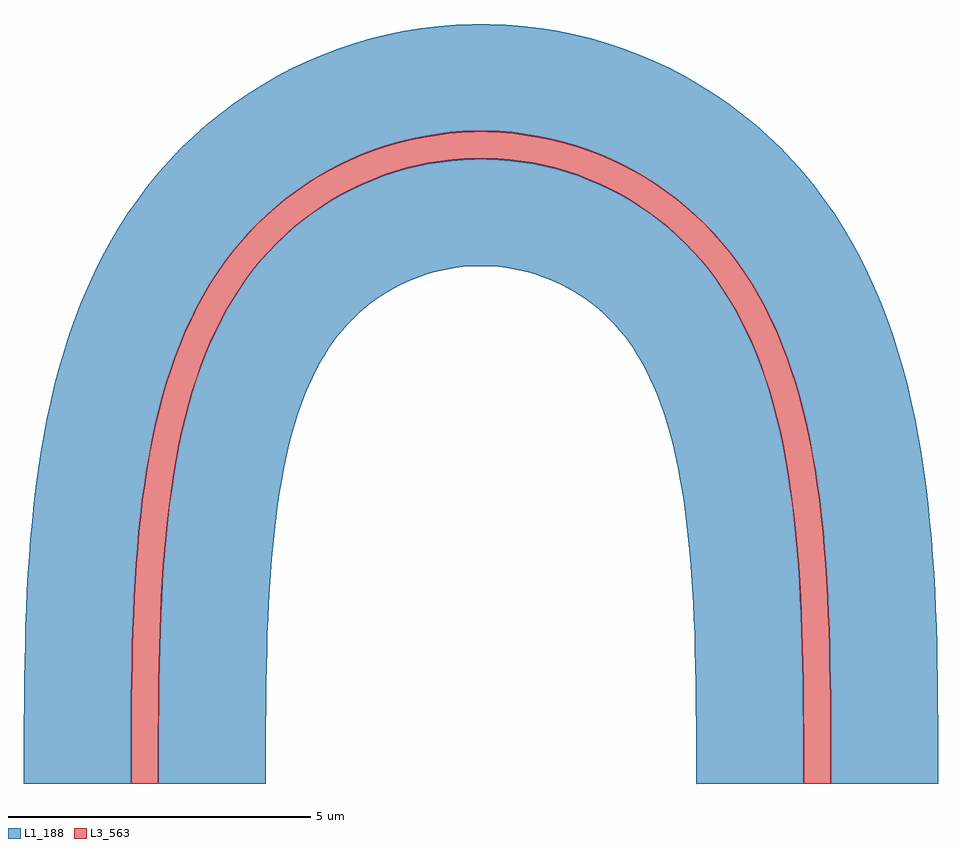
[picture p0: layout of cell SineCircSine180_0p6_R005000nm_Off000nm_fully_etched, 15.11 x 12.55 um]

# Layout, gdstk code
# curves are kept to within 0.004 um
import gdstk
lib = gdstk.Library(unit=1e-6, precision=1e-09)
def P(c, l, *ps):  # polygons
    for p in ps: c.add(gdstk.Polygon(p, *l))
L1_188 = (1, 188)
L3_563 = (3, 563)

sinecircsine180_0p6_r005 = lib.new_cell('SineCircSine180_0p6_R005000nm_Off000nm_fully_etched')
P(sinecircsine180_0p6_r005, L1_188, [(3.554,-5.556),(3.549,-4.155),(3.535,-3.345),(3.492,-2.325),(3.436,-1.605),(3.356,-0.932),(3.25,-0.314),(3.164,0.067),(3.118,0.243),(3.016,0.576),(2.903,0.888),(2.782,1.161),(2.652,1.414),(2.512,1.642),(2.363,1.849),(2.202,2.036),(2.034,2.205),(1.942,2.287),(1.756,2.433),(1.55,2.568),(1.343,2.682),(1.116,2.784),(0.893,2.864),(0.662,2.926),(0.543,2.95),(0.3,2.985),(0.061,2.999),(-0.183,2.994),(-0.419,2.97),(-0.662,2.926),(-0.893,2.864),(-1.116,2.784),(-1.343,2.682),(-1.55,2.568),(-1.756,2.433),(-1.942,2.287),(-2.034,2.205),(-2.202,2.036),(-2.363,1.849),(-2.512,1.642),(-2.652,1.414),(-2.716,1.295),(-2.846,1.024),(-2.903,0.888),(-3.016,0.576),(-3.069,0.412),(-3.164,0.067),(-3.25,-0.314),(-3.287,-0.511),(-3.356,-0.932),(-3.411,-1.372),(-3.457,-1.837),(-3.492,-2.325),(-3.527,-3.087),(-3.549,-4.155),(-3.554,-5.554),(-5.329,-5.554),(-5.324,-4.136),(-5.309,-3.301),(-5.278,-2.483),(-5.226,-1.689),(-5.146,-0.925),(-5.075,-0.435),(-5.034,-0.196),(-4.989,0.038),(-4.887,0.494),(-4.767,0.929),(-4.7,1.14),(-4.552,1.545),(-4.384,1.927),(-4.197,2.288),(-3.989,2.627),(-3.877,2.788),(-3.76,2.944),(-3.638,3.093),(-3.377,3.377),(-3.237,3.51),(-3.094,3.638),(-2.945,3.759),(-2.792,3.874),(-2.47,4.087),(-2.304,4.183),(-1.96,4.354),(-1.603,4.498),(-1.236,4.613),(-0.861,4.697),(-0.671,4.727),(-0.48,4.751),(-0.097,4.774),(0.097,4.774),(0.289,4.766),(0.48,4.751),(0.861,4.697),(1.236,4.613),(1.603,4.498),(1.96,4.354),(2.134,4.271),(2.304,4.183),(2.47,4.087),(2.792,3.874),(2.945,3.759),(3.094,3.638),(3.377,3.377),(3.638,3.093),(3.76,2.944),(3.877,2.788),(3.989,2.627),(4.095,2.46),(4.293,2.111),(4.471,1.738),(4.552,1.545),(4.7,1.14),(4.767,0.929),(4.887,0.494),(4.989,0.038),(5.075,-0.435),(5.146,-0.925),(5.202,-1.431),(5.246,-1.951),(5.278,-2.483),(5.301,-3.026),(5.32,-3.857),(5.329,-5.554)],
  [(-7.554,-5.554),(-7.549,-4.113),(-7.525,-2.949),(-7.501,-2.372),(-7.443,-1.503),(-7.387,-0.93),(-7.353,-0.645),(-7.271,-0.077),(-7.223,0.199),(-7.17,0.48),(-7.046,1.029),(-6.895,1.578),(-6.81,1.846),(-6.619,2.368),(-6.508,2.634),(-6.392,2.887),(-6.27,3.133),(-6.134,3.384),(-5.991,3.626),(-5.84,3.862),(-5.681,4.091),(-5.511,4.317),(-5.331,4.538),(-5.148,4.744),(-4.951,4.951),(-4.538,5.331),(-4.317,5.512),(-4.09,5.681),(-3.86,5.84),(-3.624,5.99),(-3.375,6.133),(-3.125,6.264),(-2.872,6.383),(-2.618,6.492),(-2.355,6.593),(-2.083,6.684),(-1.811,6.763),(-1.536,6.83),(-1.259,6.886),(-0.987,6.93),(-0.706,6.965),(-0.421,6.988),(-0.141,6.999),(0.141,6.999),(0.421,6.988),(0.706,6.965),(0.987,6.93),(1.259,6.886),(1.536,6.83),(1.811,6.763),(2.083,6.684),(2.355,6.593),(2.618,6.492),(2.872,6.383),(3.125,6.264),(3.375,6.133),(3.624,5.99),(3.86,5.84),(4.09,5.681),(4.317,5.512),(4.538,5.331),(4.746,5.145),(4.951,4.951),(5.148,4.744),(5.331,4.538),(5.511,4.317),(5.681,4.091),(5.84,3.862),(5.991,3.626),(6.134,3.384),(6.27,3.133),(6.392,2.887),(6.508,2.634),(6.619,2.368),(6.81,1.846),(6.895,1.578),(7.046,1.029),(7.17,0.48),(7.271,-0.077),(7.353,-0.645),(7.387,-0.93),(7.443,-1.503),(7.484,-2.079),(7.525,-2.949),(7.54,-3.534),(7.549,-4.113),(7.554,-5.552),(5.779,-5.554),(5.778,-4.699),(5.765,-3.569),(5.751,-3.01),(5.713,-2.188),(5.674,-1.651),(5.623,-1.126),(5.558,-0.614),(5.476,-0.116),(5.431,0.128),(5.378,0.368),(5.263,0.834),(5.126,1.282),(4.97,1.711),(4.883,1.92),(4.79,2.121),(4.589,2.51),(4.363,2.877),(4.241,3.052),(4.114,3.222),(3.841,3.542),(3.695,3.695),(3.386,3.98),(3.223,4.113),(3.054,4.24),(2.881,4.359),(2.704,4.471),(2.334,4.675),(1.951,4.847),(1.755,4.922),(1.555,4.989),(1.148,5.098),(0.735,5.173),(0.526,5.199),(0.315,5.216),(-0.105,5.224),(-0.315,5.216),(-0.526,5.199),(-0.735,5.173),(-1.148,5.098),(-1.352,5.047),(-1.555,4.989),(-1.755,4.922),(-1.951,4.847),(-2.334,4.675),(-2.52,4.577),(-2.704,4.471),(-2.881,4.359),(-3.054,4.24),(-3.223,4.113),(-3.386,3.98),(-3.543,3.84),(-3.695,3.695),(-3.98,3.385),(-4.114,3.222),(-4.363,2.877),(-4.589,2.51),(-4.693,2.317),(-4.883,1.92),(-5.05,1.499),(-5.197,1.061),(-5.323,0.602),(-5.431,0.128),(-5.519,-0.363),(-5.592,-0.869),(-5.65,-1.387),(-5.694,-1.919),(-5.728,-2.461),(-5.751,-3.01),(-5.77,-3.849),(-5.779,-5.554)])
sinecircsine180_0p6_r005.add(gdstk.FlexPath([(-5.554,-5.554),(-5.554,-5.554),(-5.554,-5.269),(-5.553,-4.984),(-5.553,-4.7),(-5.551,-4.417),(-5.549,-4.134),(-5.545,-3.853),(-5.54,-3.573),(-5.534,-3.295),(-5.526,-3.018),(-5.515,-2.744),(-5.503,-2.472),(-5.488,-2.202),(-5.47,-1.935),(-5.45,-1.67),(-5.426,-1.409),(-5.399,-1.151),(-5.369,-0.897),(-5.335,-0.646),(-5.297,-0.399),(-5.255,-0.156),(-5.21,0.083),(-5.159,0.318),(-5.105,0.548),(-5.046,0.774),(-4.982,0.995),(-4.913,1.211),(-4.839,1.422),(-4.761,1.628),(-4.677,1.829),(-4.587,2.024),(-4.493,2.214),(-4.393,2.399),(-4.287,2.578),(-4.176,2.752),(-4.059,2.92),(-3.937,3.083),(-3.809,3.239),(-3.675,3.39),(-3.536,3.536),(-3.39,3.675),(-3.24,3.809),(-3.084,3.936),(-2.923,4.057),(-2.757,4.171),(-2.587,4.279),(-2.412,4.38),(-2.234,4.473),(-2.052,4.559),(-1.867,4.638),(-1.679,4.71),(-1.488,4.774),(-1.294,4.83),(-1.099,4.878),(-0.901,4.918),(-0.703,4.95),(-0.503,4.975),(-0.302,4.991),(-0.101,4.999),(0.101,4.999),(0.302,4.991),(0.503,4.975),(0.703,4.95),(0.901,4.918),(1.099,4.878),(1.294,4.83),(1.488,4.774),(1.679,4.71),(1.867,4.638),(2.052,4.559),(2.234,4.473),(2.412,4.38),(2.587,4.279),(2.757,4.171),(2.923,4.057),(3.084,3.936),(3.24,3.809),(3.39,3.675),(3.536,3.536),(3.675,3.39),(3.809,3.239),(3.937,3.083),(4.059,2.92),(4.176,2.752),(4.287,2.578),(4.393,2.399),(4.493,2.214),(4.587,2.024),(4.677,1.829),(4.761,1.628),(4.839,1.422),(4.913,1.211),(4.982,0.995),(5.046,0.774),(5.105,0.548),(5.159,0.318),(5.21,0.083),(5.255,-0.156),(5.297,-0.399),(5.335,-0.646),(5.369,-0.897),(5.399,-1.151),(5.426,-1.409),(5.45,-1.67),(5.47,-1.935),(5.488,-2.202),(5.503,-2.472),(5.515,-2.744),(5.526,-3.018),(5.534,-3.295),(5.54,-3.573),(5.545,-3.853),(5.549,-4.134),(5.551,-4.417),(5.553,-4.7),(5.553,-4.984),(5.554,-5.269),(5.554,-5.554),(5.554,-5.554)], 0.45, ends="flush", simple_path=True, layer=3, datatype=563))  # L3_563

lib.write_gds('SineCircSine180_0p6_R005000nm_Off000nm_fully_etched.gds')
